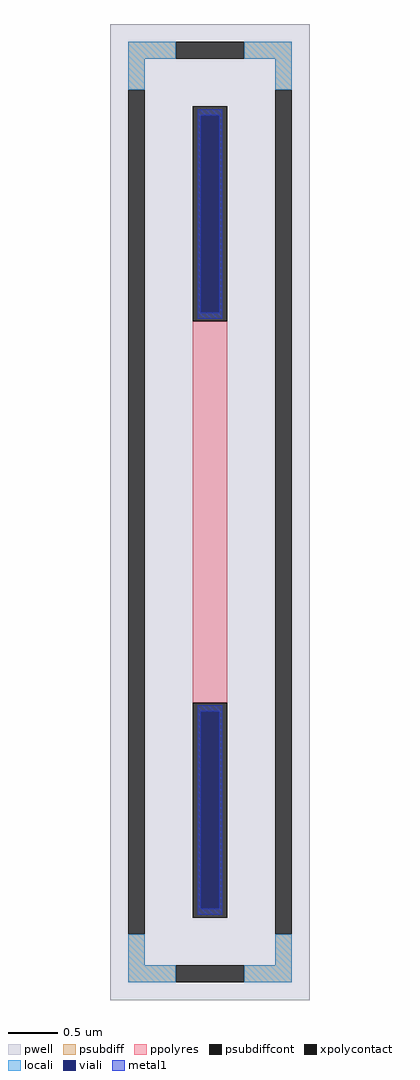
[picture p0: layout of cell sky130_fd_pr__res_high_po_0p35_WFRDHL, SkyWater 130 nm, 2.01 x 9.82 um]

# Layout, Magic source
magic
tech sky130A
magscale 1 2
<< pwell >>
rect -201 -982 201 982
<< psubdiff >>
rect -165 912 -69 946
rect 69 912 165 946
rect -165 850 -131 912
rect 131 850 165 912
rect -165 -912 -131 -850
rect 131 -912 165 -850
rect -165 -946 -69 -912
rect 69 -946 165 -912
<< psubdiffcont >>
rect -69 912 69 946
rect -165 -850 -131 850
rect 131 -850 165 850
rect -69 -946 69 -912
<< xpolycontact >>
rect -35 384 35 816
rect -35 -816 35 -384
<< ppolyres >>
rect -35 -384 35 384
<< locali >>
rect -165 912 -69 946
rect 69 912 165 946
rect -165 850 -131 912
rect 131 850 165 912
rect -165 -912 -131 -850
rect 131 -912 165 -850
rect -165 -946 -69 -912
rect 69 -946 165 -912
<< viali >>
rect -19 401 19 798
rect -19 -798 19 -401
<< metal1 >>
rect -25 798 25 810
rect -25 401 -19 798
rect 19 401 25 798
rect -25 389 25 401
rect -25 -401 25 -389
rect -25 -798 -19 -401
rect 19 -798 25 -401
rect -25 -810 25 -798
<< properties >>
string FIXED_BBOX -148 -929 148 929
string gencell sky130_fd_pr__res_high_po_0p35
string library sky130
string parameters w 0.350 l 4.0 m 1 nx 1 wmin 0.350 lmin 0.50 rho 319.8 val 4.768k dummy 0 dw 0.0 term 194.82 sterm 0.0 caplen 0 guard 1 glc 1 grc 1 gtc 1 gbc 1 compatible {sky130_fd_pr__res_high_po_0p35  sky130_fd_pr__res_high_po_0p69 sky130_fd_pr__res_high_po_1p41  sky130_fd_pr__res_high_po_2p85 sky130_fd_pr__res_high_po_5p73} snake 0 full_metal 1 wmax 0.350 vias 1 n_guard 0 hv_guard 0 viagb 0 viagt 0 viagl 0 viagr 0
<< end >>
